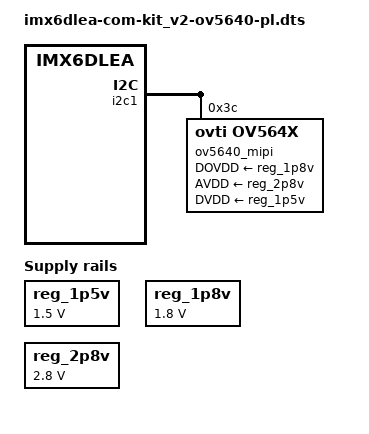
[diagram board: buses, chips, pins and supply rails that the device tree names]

/*
 * Copyright (C) 2018 Embedded Artists AB
 *
 * This program is free software; you can redistribute it and/or modify
 * it under the terms of the GNU General Public License version 2 as
 * published by the Free Software Foundation.
 */

#include "imx6dlea-com-kit_v2.dts"

/ {

        regulators {
                compatible = "simple-bus";

                reg_1p5v: 1p5v {
                        compatible = "regulator-fixed";
                        reg = <0>;
                        regulator-name = "1P5V";
                        regulator-min-microvolt = <1500000>;
                        regulator-max-microvolt = <1500000>;
                        regulator-always-on;
                };

                reg_1p8v: 1p8v {
                        compatible = "regulator-fixed";
                        reg = <1>;
                        regulator-name = "1P8V";
                        regulator-min-microvolt = <1800000>;
                        regulator-max-microvolt = <1800000>;
                        regulator-always-on;
                };

                reg_2p8v: 2p8v {
                        compatible = "regulator-fixed";
                        reg = <2>;
                        regulator-name = "2P8V";
                        regulator-min-microvolt = <2800000>;
                        regulator-max-microvolt = <2800000>;
                        regulator-always-on;
                };

	};

        v4l2_cap_0 {
                compatible = "fsl,imx6q-v4l2-capture";
                ipu_id = <0>;
                csi_id = <1>;
                mclk_source = <0>;
		default_input = <1>;
                status = "okay";
        };
};

&uart5 {
        status = "disabled";
};

&i2c1 {

        ov5640_mipi: ov5640_mipi@3c {
                compatible = "ovti,ov564x";
                reg = <0x3c>;
                clocks = <&clks IMX6QDL_CLK_CKO>;
                clock-names = "csi_mclk";
		DOVDD-supply = <&reg_1p8v>;
		AVDD-supply = <&reg_2p8v>;
		DVDD-supply = <&reg_1p5v>;
		ipu_id = <0>;
                csi_id = <1>;
                pinctrl-names = "default";
                pinctrl-0 = <&pinctrl_ov5640>;
                mclk = <24000000>;
                mclk_source = <0>;
        };

};

&iomuxc {

        imx6qea-kit {
                pinctrl_ov5640: ov5640grp {
                        fsl,pins = <
                                MX6QDL_PAD_EIM_A24__IPU1_CSI1_DATA19  0x80000000
                                MX6QDL_PAD_EIM_A23__IPU1_CSI1_DATA18  0x80000000
                                MX6QDL_PAD_EIM_A22__IPU1_CSI1_DATA17  0x80000000
                                MX6QDL_PAD_EIM_A21__IPU1_CSI1_DATA16  0x80000000
                                MX6QDL_PAD_EIM_A20__IPU1_CSI1_DATA15  0x80000000
                                MX6QDL_PAD_EIM_A19__IPU1_CSI1_DATA14  0x80000000
                                MX6QDL_PAD_EIM_A18__IPU1_CSI1_DATA13  0x80000000
                                MX6QDL_PAD_EIM_A17__IPU1_CSI1_DATA12  0x80000000
                                MX6QDL_PAD_EIM_A16__IPU1_CSI1_PIXCLK  0x80000000
                                MX6QDL_PAD_EIM_DA12__IPU1_CSI1_VSYNC  0x80000000
                                MX6QDL_PAD_EIM_DA11__IPU1_CSI1_HSYNC  0x80000000
                        >;
                };
        };
};
